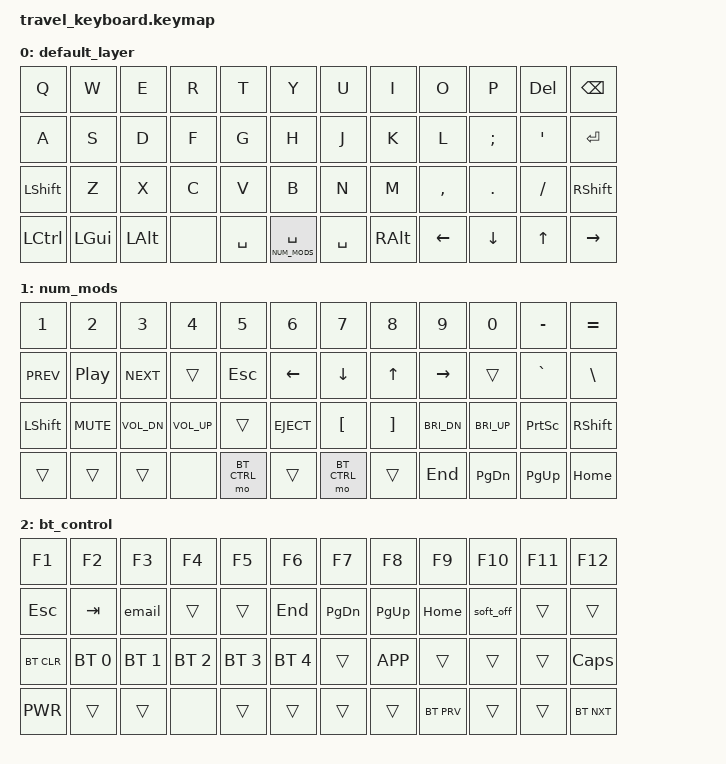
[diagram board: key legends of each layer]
#include <behaviors.dtsi>
#include <dt-bindings/zmk/keys.h>
#include <dt-bindings/zmk/bt.h>

#define DEFAULT  0
#define NUM_MODS 1
#define BT_CTRL  2

/ {
    macros {
        email: email {
            label = "email";
            compatible = "zmk,behavior-macro";
            #binding-cells = <0>;
            bindings
		= <&macro_tap &kp C &kp A &kp L &kp E &kp B &kp A &kp H &kp I &kp L &kp L &kp N7>
		, <&macro_press &kp LSHFT>
		, <&macro_tap &kp N2>
		, <&macro_release &kp LSHIFT>
		, <&macro_tap &kp G &kp M &kp A &kp I &kp L &kp DOT &kp C &kp O &kp M>
		;
        };
    };
    keymap {
        compatible = "zmk,keymap";

        default_layer {
            bindings = <
    &kp Q     &kp W     &kp E    &kp R     &kp T       &kp Y      &kp U     &kp I     &kp O     &kp P     &kp DELETE &kp BSPC
    &kp A     &kp S     &kp D    &kp F     &kp G       &kp H      &kp J     &kp K     &kp L     &kp SEMI  &kp SQT    &kp ENTER
    &kp LSHFT &kp Z     &kp X    &kp C     &kp V       &kp B      &kp N     &kp M     &kp COMMA &kp DOT   &kp FSLH   &kp RSHFT
    &kp LCTRL &kp LGUI  &kp LALT &none &kp SPACE &lt NUM_MODS SPACE &kp SPACE &kp RALT &kp LEFT &kp DOWN  &kp UP     &kp RIGHT
            >;
        };

        num_mods {
            bindings = <
    &kp N1     &kp N2     &kp N3          &kp N4       &kp N5  &kp N6      &kp N7    &kp N8   &kp N9       &kp N0       &kp MINUS  &kp EQUAL
    &kp C_PREV &kp C_PP   &kp C_NEXT      &trans       &kp ESC &kp LEFT    &kp DOWN  &kp UP   &kp RIGHT    &trans       &kp GRAVE  &kp BSLH
    &kp LSHFT  &kp C_MUTE &kp C_VOL_DN    &kp C_VOL_UP &trans  &kp C_EJECT &kp LBKT  &kp RBKT &kp C_BRI_DN &kp C_BRI_UP &kp PSCRN  &kp RSHFT
    &trans     &trans     &trans  &none       &mo BT_CTRL  &trans    &mo BT_CTRL     &trans   &kp END      &kp PG_DN    &kp PG_UP  &kp HOME
            >;
        };

        bt_control {
            bindings = <
    &kp F1     &kp F2       &kp F3       &kp F4       &kp F5       &kp F6       &kp F7    &kp F8     &kp F9     &kp F10    &kp F11  &kp F12
    &kp ESC    &kp TAB      &email       &trans       &trans       &kp END      &kp PG_DN &kp PG_UP  &kp HOME   &soft_off  &trans   &trans
    &bt BT_CLR &bt BT_SEL 0 &bt BT_SEL 1 &bt BT_SEL 2 &bt BT_SEL 3 &bt BT_SEL 4 &trans    &kp K_APP  &trans     &trans     &trans   &kp CAPS
    &kp C_PWR     &trans       &trans &none &trans        &trans     &trans        &trans    &bt BT_PRV &trans     &trans    &bt BT_NXT
            >;
        };
    };
};
